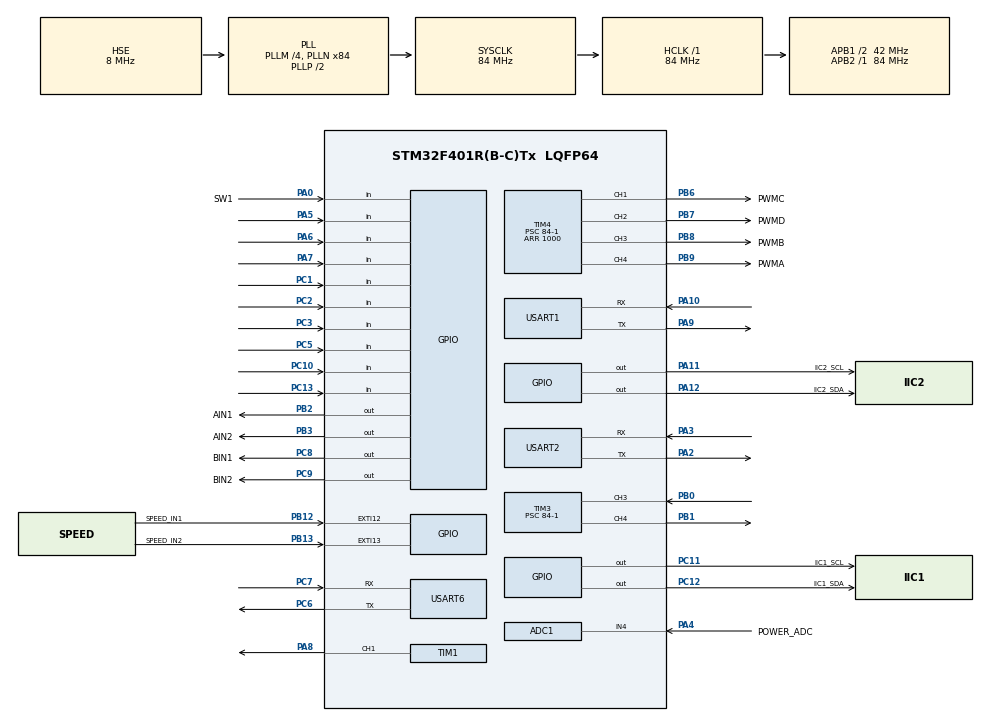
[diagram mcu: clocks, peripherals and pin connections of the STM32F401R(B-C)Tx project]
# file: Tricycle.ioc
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ADC1.Channel-0\#ChannelRegularConversion=ADC_CHANNEL_4
ADC1.ContinuousConvMode=ENABLE
ADC1.NbrOfConversionFlag=1
ADC1.Rank-0\#ChannelRegularConversion=1
ADC1.SamplingTime-0\#ChannelRegularConversion=ADC_SAMPLETIME_84CYCLES
ADC1.master=1
Mcu.Family=STM32F4
Mcu.Name=STM32F401R(B-C)Tx
Mcu.Package=LQFP64
NVIC.ADC_IRQn=true\:7\:0\:true\:false\:true\:true\:true\:true
NVIC.EXTI15_10_IRQn=true\:1\:0\:true\:false\:true\:true\:true\:true
NVIC.PriorityGroup=NVIC_PRIORITYGROUP_4
NVIC.TIM1_BRK_TIM9_IRQn=true\:0\:0\:false\:false\:true\:true\:true\:true
NVIC.TIM1_UP_TIM10_IRQn=true\:0\:0\:false\:false\:true\:true\:true\:true
NVIC.USART1_IRQn=true\:3\:0\:true\:false\:true\:true\:true\:true
NVIC.USART2_IRQn=true\:3\:0\:true\:false\:true\:true\:true\:true
NVIC.USART6_IRQn=true\:15\:0\:true\:false\:true\:true\:true\:true
PA0-WKUP.GPIO_Label=SW1
PA0-WKUP.GPIO_Mode=GPIO_MODE_INPUT
PA0-WKUP.GPIO_PuPd=GPIO_PULLUP
PA0-WKUP.Signal=GPIO_Input
PA10.Mode=Asynchronous
PA10.Signal=USART1_RX
PA11.GPIO_Label=IIC2_SCL
PA11.Signal=GPIO_Output
PA12.GPIO_Label=IIC2_SDA
PA12.Signal=GPIO_Output
PA13.Mode=Serial_Wire
PA13.Signal=SYS_JTMS-SWDIO
PA14.Mode=Serial_Wire
PA14.Signal=SYS_JTCK-SWCLK
PA2.Mode=Asynchronous
PA2.Signal=USART2_TX
PA3.Mode=Asynchronous
PA3.Signal=USART2_RX
PA4.GPIO_Label=POWER_ADC
PA4.Signal=ADCx_IN4
PA5.GPIO_PuPd=GPIO_PULLUP
PA5.Signal=GPIO_Input
PA6.GPIO_PuPd=GPIO_PULLUP
PA6.Signal=GPIO_Input
PA7.GPIO_PuPd=GPIO_PULLUP
PA7.Signal=GPIO_Input
PA8.Signal=S_TIM1_CH1
PA9.Mode=Asynchronous
PA9.Signal=USART1_TX
PB0.Signal=S_TIM3_CH3
PB1.Signal=S_TIM3_CH4
PB12.GPIO_Label=SPEED_IN1
PB12.GPIO_ModeDefaultEXTI=GPIO_MODE_IT_RISING
PB12.GPIO_PuPd=GPIO_PULLDOWN
PB12.Signal=GPXTI12
PB13.GPIO_Label=SPEED_IN2
PB13.GPIO_ModeDefaultEXTI=GPIO_MODE_IT_RISING
PB13.GPIO_PuPd=GPIO_PULLDOWN
PB13.Signal=GPXTI13
PB2.GPIO_Label=AIN1
PB2.GPIO_PuPd=GPIO_PULLDOWN
PB2.Signal=GPIO_Output
PB3.GPIO_Label=AIN2
PB3.GPIO_PuPd=GPIO_PULLDOWN
PB3.Signal=GPIO_Output
PB6.GPIO_Label=PWMC
PB6.Signal=S_TIM4_CH1
PB7.GPIO_Label=PWMD
PB7.Signal=S_TIM4_CH2
PB8.GPIO_Label=PWMB
PB8.Signal=S_TIM4_CH3
PB9.GPIO_Label=PWMA
PB9.Signal=S_TIM4_CH4
PC1.GPIO_PuPd=GPIO_PULLUP
PC1.Signal=GPIO_Input
PC10.GPIO_PuPd=GPIO_PULLUP
PC10.Signal=GPIO_Input
PC11.GPIO_Label=IIC1_SCL
PC11.GPIO_PuPd=GPIO_PULLUP
PC11.PinState=GPIO_PIN_SET
PC11.Signal=GPIO_Output
PC12.GPIO_Label=IIC1_SDA
PC12.GPIO_PuPd=GPIO_PULLUP
PC12.PinState=GPIO_PIN_SET
PC12.Signal=GPIO_Output
PC13-ANTI_TAMP.GPIO_PuPd=GPIO_PULLUP
PC13-ANTI_TAMP.Signal=GPIO_Input
PC2.GPIO_PuPd=GPIO_PULLUP
PC2.Signal=GPIO_Input
PC3.GPIO_PuPd=GPIO_PULLUP
PC3.Signal=GPIO_Input
PC5.GPIO_PuPd=GPIO_PULLDOWN
PC5.Signal=GPIO_Input
PC6.Mode=Asynchronous
PC6.Signal=USART6_TX
PC7.Mode=Asynchronous
PC7.Signal=USART6_RX
PC8.GPIO_Label=BIN1
PC8.GPIO_PuPd=GPIO_PULLDOWN
PC8.Signal=GPIO_Output
PC9.GPIO_Label=BIN2
PC9.GPIO_PuPd=GPIO_PULLDOWN
PC9.Signal=GPIO_Output
PH0\ -\ OSC_IN.Mode=HSE-External-Oscillator
PH0\ -\ OSC_IN.Signal=RCC_OSC_IN
PH1\ -\ OSC_OUT.Mode=HSE-External-Oscillator
PH1\ -\ OSC_OUT.Signal=RCC_OSC_OUT
ProjectManager.HeapSize=0x200
ProjectManager.StackSize=0x400
ProjectManager.TargetToolchain=Makefile
RCC.48MHZClocksFreq_Value=42000000
RCC.AHBFreq_Value=84000000
RCC.APB1CLKDivider=RCC_HCLK_DIV2
RCC.APB1Freq_Value=42000000
RCC.APB1TimFreq_Value=84000000
RCC.APB2Freq_Value=84000000
RCC.APB2TimFreq_Value=84000000
RCC.CortexFreq_Value=84000000
RCC.HCLKFreq_Value=84000000
RCC.HSE_VALUE=8000000
RCC.HSI_VALUE=16000000
RCC.LSE_VALUE=32768
RCC.PLLM=4
RCC.PLLN=84
RCC.PLLSourceVirtual=RCC_PLLSOURCE_HSE
RCC.SYSCLKFreq_VALUE=84000000
RCC.SYSCLKSource=RCC_SYSCLKSOURCE_PLLCLK
RCC.VCOOutputFreq_Value=168000000
SH.ADCx_IN4.0=ADC1_IN4,IN4
SH.S_TIM1_CH1.0=TIM1_CH1,PWM Generation1 CH1
SH.S_TIM3_CH3.0=TIM3_CH3,Input_Capture3_from_TI3
SH.S_TIM3_CH4.0=TIM3_CH4,PWM Generation4 CH4
SH.S_TIM4_CH1.0=TIM4_CH1,PWM Generation1 CH1
SH.S_TIM4_CH2.0=TIM4_CH2,PWM Generation2 CH2
SH.S_TIM4_CH3.0=TIM4_CH3,PWM Generation3 CH3
SH.S_TIM4_CH4.0=TIM4_CH4,PWM Generation4 CH4
TIM1.AutoReloadPreload=TIM_AUTORELOAD_PRELOAD_ENABLE
TIM1.Channel-PWM\ Generation1\ CH1=TIM_CHANNEL_1
TIM1.OCPolarity_1=TIM_OCPOLARITY_LOW
TIM1.Period=1000
TIM1.Prescaler=84-1
TIM1.Pulse-PWM\ Generation1\ CH1=100
TIM10.AutoReloadPreload=TIM_AUTORELOAD_PRELOAD_ENABLE
TIM10.Period=10000-1
TIM10.Prescaler=84-1
TIM3.Channel-Input_Capture3_from_TI3=TIM_CHANNEL_3
TIM3.Channel-PWM\ Generation4\ CH4=TIM_CHANNEL_4
TIM3.Prescaler=84-1
TIM4.AutoReloadPreload=TIM_AUTORELOAD_PRELOAD_ENABLE
TIM4.Channel-PWM\ Generation1\ CH1=TIM_CHANNEL_1
TIM4.Channel-PWM\ Generation2\ CH2=TIM_CHANNEL_2
TIM4.Channel-PWM\ Generation3\ CH3=TIM_CHANNEL_3
TIM4.Channel-PWM\ Generation4\ CH4=TIM_CHANNEL_4
TIM4.Period=1000
TIM4.Prescaler=84-1
TIM4.Pulse-PWM\ Generation2\ CH2=0
TIM4.Pulse-PWM\ Generation3\ CH3=0
TIM4.Pulse-PWM\ Generation4\ CH4=0
TIM9.AutoReloadPreload=TIM_AUTORELOAD_PRELOAD_ENABLE
TIM9.Period=999
TIM9.Prescaler=840-1
USART1.VirtualMode=VM_ASYNC
USART2.VirtualMode=VM_ASYNC
USART6.VirtualMode=VM_ASYNC
VP_TIM10_VS_ClockSourceINT.Mode=Enable_Timer
VP_TIM1_VS_ClockSourceINT.Mode=Internal
VP_TIM3_VS_ClockSourceINT.Mode=Internal
VP_TIM4_VS_ClockSourceINT.Mode=Internal
VP_TIM9_VS_ClockSourceINT.Mode=Internal
board=custom

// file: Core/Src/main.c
/* USER CODE BEGIN Header */
/**
  ******************************************************************************
  * @file           : main.c
  * @brief          : Main program body
  ******************************************************************************
  * @attention
  *
  * Copyright (c) 2024 STMicroelectronics.
  * All rights reserved.
  *
  * This software is licensed under terms that can be found in the LICENSE file
  * in the root directory of this software component.
  * If no LICENSE file comes with this software, it is provided AS-IS.
  *
  ******************************************************************************
  */
/* USER CODE END Header */
#include "main.h"
#include "adc.h"
#include "tim.h"
#include "usart.h"
#include "gpio.h"

void SystemClock_Config(void);

/* USER CODE BEGIN 0 */

#define open 0
#define close 1
typedef enum
{
	left_90,
	right_90,
	back_180,
	straight,
	fianl,
	ojbk
}spin_dir_t;	//转弯函数的输入参数

uint8_t Spin_start_flag, Spin_succeed_flag, Stop_Flag, Flag_Stop = 1;//旋转开始标志位  旋转成功标志位  路口停止标志位 默认停止标志位
uint8_t Do_count = 0, Do2_count = 0;	//任务计数
__IO uint16_t SendTime = 0;						//电机PID计算时间调整
float Velocity,Turn;									//速度  转向状态
uint8_t car_speed_l=0,car_speed_r=0;	//设置电机的速度
char show[10];												//储存OLED需要显示的字符串
extern uint8_t LED;
extern uint8_t intersection;					//路口识别标志位
extern uint8_t LoadCount,NotLoadCount;//装载药品时间计数  拿走药品时间计数
extern uint16_t lukou_straight;
void Find(void);											//巡线函数
void spin_Turn(spin_dir_t zhuanxiang);//转弯函数
char Load_mode;												//药品装载标志位
uint8_t key_num=0;										//按键扫描标志位

/* USER CODE END 0 */

int main(void)
{

  /* MCU Configuration--------------------------------------------------------*/

  /* Reset of all peripherals, Initializes the Flash interface and the Systick. */
  HAL_Init();

  /* Configure the system clock */
  SystemClock_Config();

  /* Initialize all configured peripherals */
  MX_GPIO_Init();
  MX_ADC1_Init();
  MX_TIM1_Init();
  MX_TIM3_Init();
  MX_TIM4_Init();
  MX_USART1_UART_Init();
  MX_USART2_UART_Init();
  MX_USART6_UART_Init();
  MX_TIM10_Init();
  MX_TIM9_Init();
  /* USER CODE BEGIN 2 */

	HAL_TIM_PWM_Start(&htim1,TIM_CHANNEL_1);
	HAL_TIM_PWM_Start(&htim4,TIM_CHANNEL_3);
	HAL_TIM_PWM_Start(&htim4,TIM_CHANNEL_4);
	TIM1->CCR1  =  200;
	HAL_UART_Receive_IT(&huart1, &Openmv_Receive_Buffer[0], 1);

	HAL_Delay(1000);	//等待系统初始化
	OLED_Init();
	HAL_Delay(500);
  /* USER CODE END 2 */

  /* Infinite loop */
  /* USER CODE BEGIN WHILE */
#if 0
		OLED_ShowString(0,3,(unsigned char *)"111111");
	while(1)
	{
		Moto_forward_run();
		car_speed_l = car_speed_r = 15;
		OLED_ShowString(0,1,(unsigned char *)"test");
		HAL_Delay(100);
	}
	#endif

	OLED_Clear();
  while (1)
	{
		if(SendTime >= 10)	//SendTime每10ms +1
		{
			printf("test");
			SendTime = 0;
			SendDataToOpenmv();						//不能太快，否则会超过openmv的串口接收数据缓冲区
			if(Load_mode==0) LoadOrNot();	//判断药物是否装载
			oled_show();									//显示屏打开
		}
		if(Load_flag == 1&&TASK == 1) 	//选择任务一 || 药物已经放上
		{
			SetTargetRoom();							//设置识别到的房间号
		}
		if(TASK == 2)
	 	{
			OLED_Clear();
			oled_show();							//OLED刷新
			if(Load_flag == 1)    		//运送药物
			{
				if(TargetRoom == 'A')   //这个位置理解为A房，数字为1
				{
					switch(Do_count)
					{
						case 0:
						{
							Stop_Flag = 0;							//巡线停车标志位
							Spin_succeed_flag = 0;			//转向成功标志位
							while(Stop_Flag==0)Find();	//巡线(此时 Stop_Flag ==0  完成后自动置1)
							Do_count++;
						}
						break;

						case 1:
						{
							if(Stop_Flag == 1)		//确保此时巡线关闭
							{
								spin_Turn(left_90);	//左转  此时Spin_succeed_flag== 0 ,完成后自动置1
								Do_count++;
							}
						}
						break;

						case 2:
						{
							if(Spin_succeed_flag == 1)	//上一步旋转完毕Spin_succeed_flag会置1
							{
								Spin_succeed_flag = 0;
								Stop_Flag = 0;
								while(Stop_Flag==0) Find();
								Do_count++;
							}
						}
						break;

						case 3:
						{
							if(Stop_Flag == 1)	//到终点
							{
								spin_Turn(fianl);	//前进一段距离
							}
						}
						break;
					}
				}
				else if(TargetRoom == 'B')	//B号房
				{
					switch(Do_count)
					{
						case 0:
						{
							Spin_succeed_flag = 0;
							Stop_Flag = 0;
							while(Stop_Flag == 0) Find();
							Do_count++;
						}
						break;

						case 1:
						{
							if(Stop_Flag ==1)
								spin_Turn(right_90);

							if(Spin_succeed_flag == 1)
								Do_count++;
						}
						break;

						case 2:
						{
							if(Spin_succeed_flag == 1)
							{
								Spin_succeed_flag = 0;
								Stop_Flag = 0;
								while(Stop_Flag == 0) Find();
								spin_Turn(fianl);
								Do_count++;
							}
						}
						break;

						case 3:
						{
							if(Spin_succeed_flag ==1)
							{
								car_speed_l = car_speed_r = 0;
								Flag_Stop=1;
							}
						}
						break;
					}
				}
				//中端病房和远端病房需要发送特定标志位
				else      //TargetRoom == 'C' || TargetRoom == 'D' || TargetRoom == 'E' || TargetRoom == 'F' || TargetRoom == 'G' || TargetRoom == 'H'
				{
					OLED_ShowNumber(10,3, Do_count,3,4);
					switch(Do_count)	//直走到第一个路口
					{
						case 0:
						{
							Spin_succeed_flag = 0;
							Stop_Flag = 0;
							while(Stop_Flag == 0) Find();

							Do_count++;
							SendDataToOpenmv();  //打开数字识别
						}
						break;

						case 1:
						{
							if(Stop_Flag ==1)				//遇到第一个路口
							 {
								 spin_Turn(straight);	//此时Spin_succeed_flag== 0 ,完成后自动置1
								 Do_count++;
								 SendDataToOpenmv();	//打开模板匹配数字
							 }
						 }

						case 2:
						{
							if(Spin_succeed_flag == 1)	//第一个路口往第二个路口直走
							{
								Spin_succeed_flag = 0;
								lukou_straight=1;
								Stop_Flag = 0;
								while(lukou_straight <= 120) Find();//lukou_straight 每10ms +1

								//巡线1.2s后停下1.5s识别数字,再继续巡线到下一个路口
								lukou_straight=0;
								Turn=0;
								Moto_stop();
								car_speed_l=car_speed_r=0;
								HAL_Delay(1000);
								HAL_Delay(500);
								Moto_forward_run();

								intersection = 0;
								Stop_Flag = 0;
								Spin_succeed_flag = 0;
								while(Stop_Flag == 0) Find();
								Do_count++;
							 }
						 }

						case 3:	//第二个路口		判定是否识别到数字，且该数字的位置偏左还是偏右
						{
							if(Stop_Flag == 1)
							{
								if(RoomNum == TargetNum && LoR == 1)	//识别到了目标数字, 且其位置偏左
								{
									Do_count = 8; 											//后续直至左转并直行到病房门口的函数
									TargetRoom = 'C';
								}
								else if(RoomNum == TargetNum && LoR == 2)	//识别到目标数字, 且其位置偏右
								{
									Do_count = 8;			//后续直至右转并直行到病房门口的函数
									TargetRoom = 'D';
								}
								if(LoR == 0)		//没识别到就直走到第三个路口停止
								{
									spin_Turn(straight);
									lukou_straight=1;
									while(lukou_straight <= 150) Find();

									lukou_straight=0;
									Moto_stop();
									car_speed_l=car_speed_r=0;
									HAL_Delay(1000);
									HAL_Delay(500);
									Moto_forward_run();

									intersection = 0;
									Stop_Flag = 0;
									Spin_succeed_flag = 0;
									while(Stop_Flag == 0) Find();
									Do_count++;
								}
							}
						}
						break;

						case 4:	//第三个路口准备转弯
						{
							if(Stop_Flag == 1)
							{
								if(RoomNum == TargetNum && LoR == 1)  //识别到了目标数字, 且其位置偏左
								{
									Do_count++;
									TargetRoom = 'E';		//先假定是E
									SendDataToOpenmv(); //关闭模板匹配数字
								}
								else if(RoomNum == TargetNum && LoR == 2 )  //识别到目标数字, 且其位置偏右
								{
									Do_count++;
									TargetRoom = 'G';		//先假定是G
									SendDataToOpenmv(); //关闭模板匹配数字
								}
							}
						}
						break;

						case 5://转弯
						{
							if(Stop_Flag == 1)
							{
								Do_count++;
								if(TargetRoom == 'E')
								{
									spin_Turn(left_90);
									LoR = 0;						//清空预转弯方向
									SendDataToOpenmv(); //打开模板匹配数字
								}
								else if(TargetRoom == 'G')
								{
									spin_Turn(right_90);
									LoR = 0;
									SendDataToOpenmv();
								}
							}
						}
						break;

						case 6: //直走到第四个路口
						{
							if(Spin_succeed_flag == 1)
							{
								Do_count++;
								Stop_Flag = 0;
								lukou_straight=1;
								while(lukou_straight <= 200) Find();

								lukou_straight=0;
								Moto_stop();
								car_speed_l=car_speed_r=0;
								HAL_Delay(1000);
								HAL_Delay(500);
								Moto_forward_run();

								intersection = 0;
								Stop_Flag = 0;
								Spin_succeed_flag = 0;
								while(Stop_Flag == 0) Find();
							}
						}
						break;

						case 7: //第四个路口准备转弯
						{
							if(Stop_Flag == 1)
							{
								if(TargetRoom == 'E')
								{
									if(RoomNum == TargetNum && LoR == 1)    //识别到RoomNum, 且其位置偏左
									{
										Do_count ++;
										TargetRoom = 'E';
										SendDataToOpenmv(); //关闭模板匹配数字
									}
									else if(RoomNum == TargetNum && LoR == 2)   //一定时间内识别到RoomNum, 且其位置偏右
									{
										Do_count++;
										TargetRoom = 'F';
										SendDataToOpenmv(); //关闭模板匹配数字
									}
									else
									{
										Velocity=0;
										Turn=0;
										Flag_Stop=1;
									}
								}
								else if(TargetRoom == 'G')
								{
									if(RoomNum == TargetNum && LoR == 1)    //一定时间内识别到RoomNum, 且其位置偏左
									{
										Do_count++;
										TargetRoom = 'G';
										SendDataToOpenmv(); //关闭模板匹配数字
									}
									else if(RoomNum == TargetNum && LoR == 2)   //一定时间内识别到RoomNum, 且其位置偏右
									{
										Do_count++;
										TargetRoom = 'H';
										SendDataToOpenmv(); //关闭模板匹配数字
									}
									else
									{
										Velocity=0;
										Turn=0;
										Flag_Stop=1;
									}
								}
							}
						}
						break;

						case 8://最后路口转弯
						{
							if(Stop_Flag == 1)
							{
								if(TargetRoom == 'C' || TargetRoom == 'E' || TargetRoom == 'G')
								{
									spin_Turn(left_90);
									Do_count++;
								}
								else if(TargetRoom == 'D' || TargetRoom == 'F' || TargetRoom == 'H')
								{
									spin_Turn(right_90);
									Do_count++;
								}
							}
						}
						break;

						case 9: //直走到终点
						{
							if(Spin_succeed_flag == 1)
							{
								Spin_succeed_flag = 0;
								Stop_Flag = 0;
								while(Stop_Flag == 0) Find();

								spin_Turn(fianl);
								Do_count++;
							}
						}
						break;

						case 10:
						{
							if(Spin_succeed_flag == 1) //送完药
							{
								Velocity=0;
								Turn=0;
								Flag_Stop=1;
							}
						}
						break;
					}
				}
			}
			/**********************************送药完毕返回**********************************/
			else if(Load_flag == 2)		// 全部房间都可返回了，就是远端的三叉路口那可能有时候会出现问题。
			{
				Flag_Stop=0;
				if(TargetRoom == 'A')
				{
					switch(Do2_count)
					{
						case 0:
						{
							spin_Turn(back_180);
							Do2_count++;
						}
						break;

						case 1:
						{
							if(Spin_succeed_flag == 1) //转弯成功
							{
								Spin_succeed_flag = 0;
								Stop_Flag = 0;
								while(Stop_Flag == 0) Find();
								Do2_count++;
							}
						}
						break;

						case 2:
						{
							if(Stop_Flag ==1)
							{
								spin_Turn(right_90);   //此时Spin_succeed_flag== 0 ,完成后自动置1
								Do2_count++;
							}
						}
						break;

						case 3:
						{
							if(Spin_succeed_flag == 1)
							{
								Spin_succeed_flag = 0;
								Stop_Flag = 0;
								while(Stop_Flag == 0) Find();
								spin_Turn(ojbk);
								Do2_count++;
							}
						}
						break;

						case 4:
						{
							if(Spin_succeed_flag == 1)
							{
								//清空标志位,停下小车
								Velocity=0;
								Turn=0;
								Flag_Stop=1;
								Moto_stop();
								car_speed_l=car_speed_r=0;
							}
						}
						break;
					}
				}
				else if(TargetRoom == 'B')
				{
					switch(Do2_count)
					{
						case 0:
						{
							spin_Turn(back_180);
							Do2_count++;
						}
						break;

						case 1:
						{
							if(Spin_succeed_flag == 1)
							{
								Spin_succeed_flag = 0;
								Stop_Flag = 0;
								HAL_Delay(100);
								while(Stop_Flag == 0) Find();
								Do2_count++;
							}
						}
						break;

						case 2:
						{
							 if(Stop_Flag ==1)
							 {
								 spin_Turn(left_90);
								 Do2_count++;
							 }
						}
						break;

						case 3:
						{
							if(Spin_succeed_flag == 1)
							{
								Spin_succeed_flag = 0;
								Stop_Flag = 0;
								while(Stop_Flag == 0) Find();
								spin_Turn(ojbk);
								Do2_count++;
							}
						}
						break;

						case 4:
						{
							if(Spin_succeed_flag == 1)
							{
								Velocity=0;
								Turn=0;
								Flag_Stop=1;
								Moto_stop();
								car_speed_l=car_speed_r=0;
								LED(open);
							}
						}
						break;
					}
				}
				else if(TargetRoom == 'C')   //中端病房   这两个与近端病房的差别只是在最后直走的时候走多了几十cm而已
				{
					switch(Do2_count)
					{
						case 0:
						{
							spin_Turn(back_180);
							Do2_count++;
						}
						break;

						case 1:
						{
							if(Spin_succeed_flag == 1)
							{
								Stop_Flag = 0;
								while(Stop_Flag==0)Find();
								Do2_count++;
							}
						}
						break;

						case 2:
						{
							if(Stop_Flag ==1)
							{
								spin_Turn(right_90 );   //此时Spin_succeed_flag== 0 ,完成后自动置1
								Spin_succeed_flag=1;
								Do2_count++;
							}
						}
						break;

						case 3:
						{
							if(Spin_succeed_flag == 1)
							{
								Stop_Flag = 0;
								while(Stop_Flag == 0) Find();

								spin_Turn(straight);
								Do2_count++;
								Stop_Flag = 1;
							}
						}
						break;

						case 4:
						{
							if(Stop_Flag ==1)
							{
								Stop_Flag = 0;
								while(Stop_Flag == 0) Find();
								Do2_count++;
							}
						}
						break;

						case 5:
						{
							Stop_Flag = 0;
							while	(Stop_Flag == 0) Find();

							Stop_Flag = 0;
							while	(Stop_Flag == 0) Find();

							spin_Turn(ojbk);
							Do2_count++;
						}
						break;

						case 6:
						{
							Velocity=0;
							Turn=0;
							Flag_Stop=1;
							Moto_stop();
							car_speed_l = car_speed_r = 0;
						}
						break;
					}
				}
				else if(TargetRoom == 'D')
				{
					switch(Do2_count)
					{
						case 0:
						{
							spin_Turn(back_180);
							Do2_count++;
						}
						break;

						case 1:
						{
							if(Spin_succeed_flag == 1)
							{
								Spin_succeed_flag = 0;
								Stop_Flag = 0;
								HAL_Delay(100);
								while(Stop_Flag == 0) Find();
								Do2_count++;
							}
						}
						break;

						case 2:
						{
							if(Stop_Flag ==1)
							{
								spin_Turn(left_90);   //此时Spin_succeed_flag== 0 ,完成后自动置1
								Do2_count++;
							}
						}
						break;

						case 3:
						{
							if(Spin_succeed_flag == 1)
							{
								Spin_succeed_flag = 0;
								Stop_Flag = 0;
								HAL_Delay(100);
								while(Stop_Flag == 0) Find();
								Do2_count++;
							}
						}
						break;

						case 4:
						{
							if(Stop_Flag ==1)
							{
								spin_Turn(straight);   //此时Spin_succeed_flag== 0 ,完成后自动置1
								Do2_count++;
							}
						}
						break;

						case 5:
						{
							if(Spin_succeed_flag ==1)
							{
								Spin_succeed_flag = 0;
								Stop_Flag = 0;
								HAL_Delay(100);
								while(Stop_Flag == 0) Find();
								Do2_count++;
							}
						}
						break;

						case 6:
						{
							if(Stop_Flag ==1)
							{
								spin_Turn(ojbk);   //此时Spin_succeed_flag== 0 ,完成后自动置1
								Flag_Stop=1;
								Moto_stop();
								car_speed_l=car_speed_r=0;
							}
						}
						break;
					}
				}
				else if(TargetRoom == 'E')   //远端病房   四个只是在两个路口的转向不同而已
				{
					switch(Do2_count)
					{
						case 0:
						{
							spin_Turn(back_180);
							Do2_count++;
						}
						break;

						case 1:
						{
							if(Spin_succeed_flag == 1)
							{
								Spin_succeed_flag = 0;
								Stop_Flag = 0;
								while(Stop_Flag == 0) Find();
								Do2_count++;
							}
						}
						break;

						case 2:
						{
							if(Stop_Flag ==1)
							{
								spin_Turn(right_90);   //此时Spin_succeed_flag== 0 ,完成后自动置1
								Do2_count++;
							}
						}
						break;

						case 3:
						{
							if(Spin_succeed_flag == 1)
							{
								Spin_succeed_flag = 0;
								Stop_Flag = 0;
								while(Stop_Flag == 0) Find();
								Do2_count++;
							}
						}
						break;

						case 4:
						{
							if(Stop_Flag == 1)
							{
								spin_Turn(right_90);
								Do2_count++;
							}
						}
						break;

						case 5:
						{
							if(Spin_succeed_flag == 1)
							{
								Spin_succeed_flag = 0;
								Stop_Flag = 0;
								while(Stop_Flag == 0) Find();

								spin_Turn(straight);
								Stop_Flag = 1;
								Do2_count++;
							}
						}
						break;

						case 6:
						{
							if(Stop_Flag ==1)
							{
								Spin_succeed_flag = 0;
								Stop_Flag = 0;
								while(Stop_Flag == 0) Find();

								spin_Turn(straight);
								Do2_count++;
							}
						}
						break;

						case 7:
						{
							Spin_succeed_flag = 0;
							Stop_Flag = 0;
							while(Stop_Flag == 0) Find();
							Do2_count++;
						}
						break;

						case 8:
						{
							Spin_succeed_flag = 0;
							Stop_Flag = 0;
							while(Stop_Flag == 0) Find();

							spin_Turn(ojbk);
							Do2_count++;
						}
						break;

						case 9:
						{
							Velocity=0;
							Turn=0;
							Flag_Stop=1;
							Moto_stop();
							car_speed_l=car_speed_r=0;
						}
						break;
					}
				}

				else if(TargetRoom == 'F')
				{
					switch(Do2_count)
					{
						case 0:
						{
							spin_Turn(back_180);
							Do2_count++;
						}
						break;

						case 1:
						{
							if(Spin_succeed_flag == 1)
							{
								Spin_succeed_flag = 0;
								Stop_Flag = 0;
								while(Stop_Flag == 0) Find();
								Do2_count++;
							}
						}
						break;

						case 2:
						{
							if(Stop_Flag ==1)
							{
								spin_Turn(left_90);   //此时Spin_succeed_flag== 0 ,完成后自动置1
								Do2_count++;
							}
						}
						break;

						case 3:
						{
							if(Spin_succeed_flag == 1)
							{
								Spin_succeed_flag = 0;
								Stop_Flag = 0;
								while(Stop_Flag == 0) Find();
								Do2_count++;
							}
						}
						break;

						case 4:
						{
							if(Stop_Flag == 1)
							{
								spin_Turn(right_90);
								Do2_count++;
							}
						}
						break;

						case 5:
						{
							if(Spin_succeed_flag == 1)
							{
								Spin_succeed_flag = 0;
								Stop_Flag = 0;
								while(Stop_Flag == 0) Find();

								spin_Turn(straight);
								Stop_Flag = 1;
								Do2_count++;
							}
						}
						break;

						case 6:
						{
							if(Stop_Flag == 1)
							{
								Spin_succeed_flag = 0;
								Stop_Flag = 0;
								while(Stop_Flag == 0) Find();

								spin_Turn(straight);
								Do2_count++;
							}
						}
						break;

						case 7:
						{
							Spin_succeed_flag = 0;
							Stop_Flag = 0;
							while(Stop_Flag == 0) Find();
							Do2_count++;
						}
						break;

						case 8:
						{
							Spin_succeed_flag = 0;
							Stop_Flag = 0;
							while(Stop_Flag == 0) Find();

							spin_Turn(ojbk);
							Do2_count++;
						}
						break;

						case 9:
						{
							Velocity=0;
							Turn=0;
							Flag_Stop=1;
							Moto_stop();
							car_speed_l=car_speed_r=0;
						}
						break;
					}
				}

				else if(TargetRoom == 'G')
				{
					switch(Do2_count)
					{
						case 0:
						{
							spin_Turn(back_180);
							Do2_count++;
						}
						break;

						case 1:
						{
							if(Spin_succeed_flag == 1)
							{
								Spin_succeed_flag = 0;
								Stop_Flag = 0;
								while(Stop_Flag == 0) Find();
								Do2_count++;
							}
						}
						break;

						case 2:
						{
							if(Stop_Flag == 1)
							{
								spin_Turn(right_90);   //此时Spin_succeed_flag== 0 ,完成后自动置1
								Do2_count++;
							}
						}
						break;

						case 3:
						{
							if(Spin_succeed_flag == 1)
							{
								Spin_succeed_flag = 0;
								Stop_Flag = 0;
								while(Stop_Flag == 0) Find();
								Do2_count++;
							}
						}
						break;

						case 4:
						{
							if(Stop_Flag == 1)
							{
								spin_Turn(left_90);
								Do2_count++;
							}
						}
						break;

						case 5:
						{
							if(Spin_succeed_flag == 1)
							{
								Spin_succeed_flag = 0;
								Stop_Flag = 0;
								while(Stop_Flag == 0) Find();

								spin_Turn(straight);
								Stop_Flag = 1;
								Do2_count++;
							}
						}
						break;

						case 6:
						{
							if(Stop_Flag == 1)
							{
								Stop_Flag = 0;
								while(Stop_Flag == 0) Find();
								spin_Turn(straight);
								Do2_count++;
							}
						}
						break;

						case 7:
						{
							Spin_succeed_flag = 0;
							Stop_Flag = 0;
							while(Stop_Flag == 0) Find();
							Do2_count++;
						}
						break;

						case 8:
						{
							Spin_succeed_flag = 0;
							Stop_Flag = 0;
							while(Stop_Flag == 0) Find();

							spin_Turn(ojbk);
							Do2_count++;
						}
						break;

						case 9:
						{
							Velocity=0;
							Turn=0;
							Flag_Stop=1;
							Moto_stop();
							car_speed_l=car_speed_r=0;
						}
						break;
					}
				}

				else if(TargetRoom == 'H')
				{
					switch(Do2_count)
					{
						case 0:
						{
							spin_Turn(back_180);
							Do2_count++;
						}
						break;

						case 1:
						{
							if(Spin_succeed_flag == 1)
							{
								Spin_succeed_flag = 0;
								Stop_Flag = 0;
								while(Stop_Flag == 0) Find();
								Do2_count++;
							}
						}
						break;

						case 2:
						{
							if(Stop_Flag == 1)
							{
								spin_Turn(left_90);   //此时Spin_succeed_flag== 0 ,完成后自动置1
								Do2_count++;
							}
						}
						break;

						case 3:
						{
							if(Spin_succeed_flag == 1)
							{
								Spin_succeed_flag = 0;
								Stop_Flag = 0;
								while(Stop_Flag == 0) Find();
								Do2_count++;
							}
						}
						break;

						case 4:
						{
							if(Stop_Flag == 1)
							{
								spin_Turn(left_90);
								Do2_count++;
							}
						}
						break;

						case 5:
						{
							if(Spin_succeed_flag == 1)
							{
								Spin_succeed_flag = 0;
								Stop_Flag = 0;
								while(Stop_Flag == 0) Find();

								spin_Turn(straight);
								Do2_count++;
								Stop_Flag = 1;
							}
						}
						break;

						case 6:
						if(Stop_Flag == 1)
						{
							Spin_succeed_flag = 0;
							Stop_Flag = 0;
							while(Stop_Flag == 0) Find();
							spin_Turn(straight);
							Do2_count++;
						}
						break;

						case 7:
						{
							Spin_succeed_flag = 0;
							Stop_Flag = 0;
							while(Stop_Flag == 0) Find();
							Do2_count++;
						}
						break;

						case 8:
						{
							Spin_succeed_flag = 0;
							Stop_Flag = 0;
							while(Stop_Flag == 0) Find();

							spin_Turn(ojbk);
							Do2_count++;
						}
						break;

						case 9:
						{
							Velocity=0;
							Turn=0;
							Flag_Stop=1;
							Moto_stop();
							car_speed_l=car_speed_r=0;
						}
						break;
					}
				}
			}
		}

    /* USER CODE END WHILE */

	}
}

void SystemClock_Config(void)
{
  RCC_OscInitTypeDef RCC_OscInitStruct = {0};
  RCC_ClkInitTypeDef RCC_ClkInitStruct = {0};

  /** Configure the main internal regulator output voltage
  */
  __HAL_RCC_PWR_CLK_ENABLE();
  __HAL_PWR_VOLTAGESCALING_CONFIG(PWR_REGULATOR_VOLTAGE_SCALE2);

  /** Initializes the RCC Oscillators according to the specified parameters
  * in the RCC_OscInitTypeDef structure.
  */
  RCC_OscInitStruct.OscillatorType = RCC_OSCILLATORTYPE_HSE;
  RCC_OscInitStruct.HSEState = RCC_HSE_ON;
  RCC_OscInitStruct.PLL.PLLState = RCC_PLL_ON;
  RCC_OscInitStruct.PLL.PLLSource = RCC_PLLSOURCE_HSE;
  RCC_OscInitStruct.PLL.PLLM = 4;
  RCC_OscInitStruct.PLL.PLLN = 84;
  RCC_OscInitStruct.PLL.PLLP = RCC_PLLP_DIV2;
  RCC_OscInitStruct.PLL.PLLQ = 4;
  if (HAL_RCC_OscConfig(&RCC_OscInitStruct) != HAL_OK)
  {
    Error_Handler();
  }

  /** Initializes the CPU, AHB and APB buses clocks
  */
  RCC_ClkInitStruct.ClockType = RCC_CLOCKTYPE_HCLK|RCC_CLOCKTYPE_SYSCLK
                              |RCC_CLOCKTYPE_PCLK1|RCC_CLOCKTYPE_PCLK2;
  RCC_ClkInitStruct.SYSCLKSource = RCC_SYSCLKSOURCE_PLLCLK;
  RCC_ClkInitStruct.AHBCLKDivider = RCC_SYSCLK_DIV1;
  RCC_ClkInitStruct.APB1CLKDivider = RCC_HCLK_DIV2;
  RCC_ClkInitStruct.APB2CLKDivider = RCC_HCLK_DIV1;

  if (HAL_RCC_ClockConfig(&RCC_ClkInitStruct, FLASH_LATENCY_2) != HAL_OK)
  {
    Error_Handler();
  }
}

/* USER CODE BEGIN 4 */
extern uint8_t intersection;
void Find(void)
{
	Spin_start_flag = 0;			//旋转开始标志位
	Spin_succeed_flag = 0;		//旋转成功标志位
	Find_Line_Begins();				//开始巡线
	if (intersection == 1)
	{
		Stop_Flag = 1;					//遇到路口停止
		intersection = 0;
		car_speed_l = car_speed_r = 0;
	}
}

/******转向完成时  Spin_start_flag == 0 && Spin_succeed_flag == 1  ********/
/*转角有左转90，右转90，和转180三种情况。*/
void spin_Turn(spin_dir_t zhuanxiang) //其实转向环并不需要很精准，转弯后直接用直走时的巡线函数回正车身就好
{
	Stop_Flag = 0;  //执行转弯时，将直走完成的标志位清零. 即如果上一次是直行，这次是转弯，则不用在业务代码里手动置位

	Spin_start_flag = 1;
	Spin_succeed_flag = 0;

	/**************要是转弯后不能回到线上，可以改这里的转向系数**************/
	if (zhuanxiang == left_90)  //openmv识别到需要往左边病房走
	{
		Moto_forward_run();
		car_speed_l=car_speed_r=15;
		HAL_Delay(780);		//越长时间就前进越多
		Moto_turn_left();
		HAL_Delay(740);		//越长时间就转越多
		car_speed_l=car_speed_r=0;
	}
	else if (zhuanxiang == right_90)  //openmv识别到需要往右边病房走
	{
		Moto_forward_run();
		car_speed_l=car_speed_r=15;
		HAL_Delay(900);
		Moto_turn_right();
		HAL_Delay(820);
		car_speed_l=car_speed_r=0;
	}
	else if (zhuanxiang == back_180)
	{
		Moto_forward_run();
		car_speed_l=car_speed_r=15;
		HAL_Delay(400);
		Moto_turn_right();
		HAL_Delay(1000);HAL_Delay(680);
	}

	else if (zhuanxiang == straight)
	{
		Moto_forward_run();
		car_speed_l=car_speed_r=15;
		HAL_Delay(500);
	}
	else if (zhuanxiang == fianl)
	{
		Moto_forward_run();
		car_speed_l=car_speed_r=15;
		HAL_Delay(800);
		car_speed_l=car_speed_r=0;
		Flag_Stop=1;
		Load_mode=0;
	}
	else if (zhuanxiang == ojbk)
	{
		Moto_forward_run();
		car_speed_l=car_speed_r=15;
		HAL_Delay(1000);HAL_Delay(300);
	}
	Spin_succeed_flag = 1;
}

uint8_t LoadCount,NotLoadCount;
uint8_t Load_flag = 0;  //0表示还没转载药品，1表示转载完毕，2表示药品送完
extern char Load_mode;
void LoadOrNot()
{
	if(HAL_GPIO_ReadPin(GPIOC,GPIO_PIN_5)==0)
	{
		NotLoadCount = 0;
		if(Load_flag==0)
		{
			LoadCount++;
			if(LoadCount > 3) //3次程序执行到这之后再次判断
			{
				Load_flag = 1;
				Load_mode=1;
			}
		}
	}
	else if(HAL_GPIO_ReadPin(GPIOC,GPIO_PIN_5)==1)
	{
		LoadCount = 0;

		if(Load_flag == 1)			//必须先装载过药品的情况下才能判断是否拿走药品
		{
			NotLoadCount++;
			if(NotLoadCount > 3)	//3次程序执行到这之后再次判断
			{
				Load_flag = 2;
			}
		}
	}
}

/* USER CODE END 4 */

void Error_Handler(void)
{
  __disable_irq();
  while (1)
  {
  }
}
